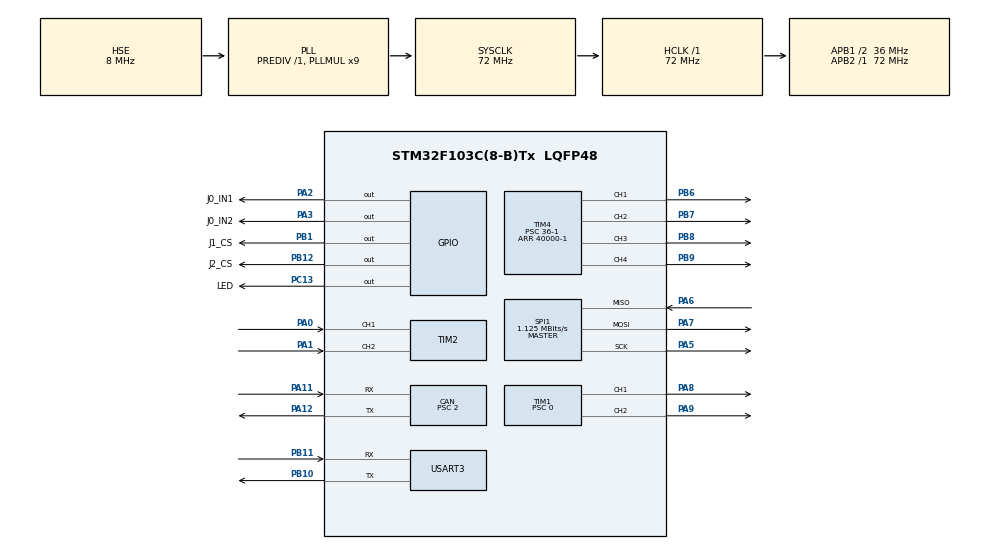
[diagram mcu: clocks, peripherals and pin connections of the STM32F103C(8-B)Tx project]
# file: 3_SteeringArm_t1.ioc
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CAN.ABOM=ENABLE
CAN.BS1=CAN_BS1_13TQ
CAN.BS2=CAN_BS2_4TQ
CAN.CalculateBaudRate=1000000
CAN.CalculateTimeBit=1000
CAN.CalculateTimeQuantum=55.55555555555556
CAN.NART=ENABLE
CAN.Prescaler=2
CAN.TXFP=ENABLE
FREERTOS.Queues01=canRxQueue,16,App_CAN_Message_t,0,Dynamic,NULL,NULL
FREERTOS.Tasks01=Heartbeat_Ta,8,64,Heartbeat_Task_Run,Default,NULL,Static,Heartbeat_TaBuffer,Heartbeat_TaControlBlock;CAN_Rx_Ta,24,256,CAN_Rx_Task_Run,Default,NULL,Static,CAN_Rx_TaBuffer,CAN_Rx_TaControlBlock;DC_Motor_Ta,25,256,DC_Motor_Task_Run,Default,NULL,Static,DC_Motor_TaBuffer,DC_Motor_TaControlBlock;Servo_Ta,24,256,Servo_Task_Run,Default,NULL,Static,Servo_TaBuffer,Servo_TaControlBlock;Arm_State_Ta,24,256,Arm_State_Task_Run,Default,NULL,Static,Arm_State_TaBuffer,Arm_State_TaControlBlock
FREERTOS.configCHECK_FOR_STACK_OVERFLOW=2
FREERTOS.configMAX_TASK_NAME_LEN=24
FREERTOS.configMINIMAL_STACK_SIZE=64
FREERTOS.configTIMER_TASK_STACK_DEPTH=128
FREERTOS.configUSE_MALLOC_FAILED_HOOK=1
Mcu.Family=STM32F1
Mcu.Name=STM32F103C(8-B)Tx
Mcu.Package=LQFP48
NVIC.CAN1_SCE_IRQn=true\:5\:0\:false\:false\:true\:true\:true\:true\:true
NVIC.PriorityGroup=NVIC_PRIORITYGROUP_4
NVIC.TIM3_IRQn=true\:15\:0\:false\:false\:true\:false\:false\:true\:true
NVIC.TimeBase=TIM3_IRQn
NVIC.TimeBaseIP=TIM3
NVIC.USB_LP_CAN1_RX0_IRQn=true\:5\:0\:false\:false\:true\:true\:true\:true\:true
PA0-WKUP.Signal=S_TIM2_CH1_ETR
PA1.Signal=S_TIM2_CH2
PA11.Mode=CAN_Activate
PA11.Signal=CAN_RX
PA12.Mode=CAN_Activate
PA12.Signal=CAN_TX
PA13.Mode=Serial_Wire
PA13.Signal=SYS_JTMS-SWDIO
PA14.Mode=Serial_Wire
PA14.Signal=SYS_JTCK-SWCLK
PA2.GPIO_Label=J0_IN1
PA2.PinState=GPIO_PIN_RESET
PA2.Signal=GPIO_Output
PA3.GPIO_Label=J0_IN2
PA3.PinState=GPIO_PIN_RESET
PA3.Signal=GPIO_Output
PA5.Mode=Full_Duplex_Master
PA5.Signal=SPI1_SCK
PA6.Mode=Full_Duplex_Master
PA6.Signal=SPI1_MISO
PA7.Mode=Full_Duplex_Master
PA7.Signal=SPI1_MOSI
PA8.Signal=S_TIM1_CH1
PA9.Signal=S_TIM1_CH2
PB1.GPIO_Label=J1_CS
PB1.PinState=GPIO_PIN_SET
PB1.Signal=GPIO_Output
PB10.Mode=Asynchronous
PB10.Signal=USART3_TX
PB11.Mode=Asynchronous
PB11.Signal=USART3_RX
PB12.GPIO_Label=J2_CS
PB12.PinState=GPIO_PIN_SET
PB12.Signal=GPIO_Output
PB6.Signal=S_TIM4_CH1
PB7.Signal=S_TIM4_CH2
PB8.Signal=S_TIM4_CH3
PB9.Signal=S_TIM4_CH4
PC13-TAMPER-RTC.GPIO_Label=LED
PC13-TAMPER-RTC.PinState=GPIO_PIN_SET
PC13-TAMPER-RTC.Signal=GPIO_Output
PD0-OSC_IN.Mode=HSE-External-Oscillator
PD0-OSC_IN.Signal=RCC_OSC_IN
PD1-OSC_OUT.Mode=HSE-External-Oscillator
PD1-OSC_OUT.Signal=RCC_OSC_OUT
ProjectManager.HeapSize=0x200
ProjectManager.StackSize=0x800
ProjectManager.TargetToolchain=CMake
RCC.AHBFreq_Value=72000000
RCC.APB1CLKDivider=RCC_HCLK_DIV2
RCC.APB1Freq_Value=36000000
RCC.APB1TimFreq_Value=72000000
RCC.APB2Freq_Value=72000000
RCC.APB2TimFreq_Value=72000000
RCC.EnbaleCSS=true
RCC.HCLKFreq_Value=72000000
RCC.PLLMUL=RCC_PLL_MUL9
RCC.PLLSourceVirtual=RCC_PLLSOURCE_HSE
RCC.SYSCLKFreq_VALUE=72000000
RCC.SYSCLKSource=RCC_SYSCLKSOURCE_PLLCLK
RCC.USBFreq_Value=72000000
SH.S_TIM1_CH1.0=TIM1_CH1,PWM Generation1 CH1
SH.S_TIM1_CH2.0=TIM1_CH2,PWM Generation2 CH2
SH.S_TIM2_CH1_ETR.0=TIM2_CH1,Encoder_Interface
SH.S_TIM2_CH2.0=TIM2_CH2,Encoder_Interface
SH.S_TIM4_CH1.0=TIM4_CH1,PWM Generation1 CH1
SH.S_TIM4_CH2.0=TIM4_CH2,PWM Generation2 CH2
SH.S_TIM4_CH3.0=TIM4_CH3,PWM Generation3 CH3
SH.S_TIM4_CH4.0=TIM4_CH4,PWM Generation4 CH4
SPI1.BaudRatePrescaler=SPI_BAUDRATEPRESCALER_64
SPI1.CLKPhase=SPI_PHASE_2EDGE
SPI1.CalculateBaudRate=1.125 MBits/s
SPI1.Direction=SPI_DIRECTION_2LINES
SPI1.Mode=SPI_MODE_MASTER
SPI1.VirtualType=VM_MASTER
TIM1.AutoReloadPreload=TIM_AUTORELOAD_PRELOAD_ENABLE
TIM1.Channel-PWM\ Generation1\ CH1=TIM_CHANNEL_1
TIM1.Channel-PWM\ Generation2\ CH2=TIM_CHANNEL_2
TIM1.Period=7200
TIM1.Prescaler=0
TIM2.AutoReloadPreload=TIM_AUTORELOAD_PRELOAD_ENABLE
TIM2.EncoderMode=TIM_ENCODERMODE_TI12
TIM2.IC1Filter=7
TIM2.IC2Filter=7
TIM4.AutoReloadPreload=TIM_AUTORELOAD_PRELOAD_ENABLE
TIM4.Channel-PWM\ Generation1\ CH1=TIM_CHANNEL_1
TIM4.Channel-PWM\ Generation2\ CH2=TIM_CHANNEL_2
TIM4.Channel-PWM\ Generation3\ CH3=TIM_CHANNEL_3
TIM4.Channel-PWM\ Generation4\ CH4=TIM_CHANNEL_4
TIM4.Period=40000-1
TIM4.Prescaler=36-1
USART3.VirtualMode=VM_ASYNC
VP_FREERTOS_VS_CMSIS_V2.Mode=CMSIS_V2
VP_SYS_VS_tim3.Mode=TIM3
board=custom

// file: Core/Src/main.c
/* USER CODE BEGIN Header */
/**
  ******************************************************************************
  * @file           : main.c
  * @brief          : Main program body
  ******************************************************************************
  * @attention
  *
  * Copyright (c) 2026 STMicroelectronics.
  * All rights reserved.
  *
  * This software is licensed under terms that can be found in the LICENSE file
  * in the root directory of this software component.
  * If no LICENSE file comes with this software, it is provided AS-IS.
  *
  ******************************************************************************
  */
/* USER CODE END Header */
#include "main.h"
#include "cmsis_os.h"
#include "can.h"
#include "spi.h"
#include "tim.h"
#include "usart.h"
#include "gpio.h"

/* USER CODE BEGIN Includes */

#include "stdio.h"

/* USER CODE END Includes */

void SystemClock_Config(void);
void MX_FREERTOS_Init(void);

int main(void)
{

  /* MCU Configuration--------------------------------------------------------*/

  /* Reset of all peripherals, Initializes the Flash interface and the Systick. */
  HAL_Init();

  /* Configure the system clock */
  SystemClock_Config();

  /* Initialize all configured peripherals */
  MX_GPIO_Init();
  MX_CAN_Init();
  MX_SPI1_Init();
  MX_TIM1_Init();
  MX_TIM2_Init();
  MX_TIM4_Init();
  MX_USART3_UART_Init();
  /* USER CODE BEGIN 2 */

  printf("3_SteeringArm starting...\r\n");

  /* USER CODE END 2 */

  /* Init scheduler */
  osKernelInitialize();  /* Call init function for freertos objects (in cmsis_os2.c) */
  MX_FREERTOS_Init();

  /* Start scheduler */
  osKernelStart();

  /* We should never get here as control is now taken by the scheduler */

  /* Infinite loop */
  while (1)
  {

  }
}

void SystemClock_Config(void)
{
  RCC_OscInitTypeDef RCC_OscInitStruct = {0};
  RCC_ClkInitTypeDef RCC_ClkInitStruct = {0};

  /** Initializes the RCC Oscillators according to the specified parameters
  * in the RCC_OscInitTypeDef structure.
  */
  RCC_OscInitStruct.OscillatorType = RCC_OSCILLATORTYPE_HSE;
  RCC_OscInitStruct.HSEState = RCC_HSE_ON;
  RCC_OscInitStruct.HSEPredivValue = RCC_HSE_PREDIV_DIV1;
  RCC_OscInitStruct.HSIState = RCC_HSI_ON;
  RCC_OscInitStruct.PLL.PLLState = RCC_PLL_ON;
  RCC_OscInitStruct.PLL.PLLSource = RCC_PLLSOURCE_HSE;
  RCC_OscInitStruct.PLL.PLLMUL = RCC_PLL_MUL9;
  if (HAL_RCC_OscConfig(&RCC_OscInitStruct) != HAL_OK)
  {
    Error_Handler();
  }

  /** Initializes the CPU, AHB and APB buses clocks
  */
  RCC_ClkInitStruct.ClockType = RCC_CLOCKTYPE_HCLK|RCC_CLOCKTYPE_SYSCLK
                              |RCC_CLOCKTYPE_PCLK1|RCC_CLOCKTYPE_PCLK2;
  RCC_ClkInitStruct.SYSCLKSource = RCC_SYSCLKSOURCE_PLLCLK;
  RCC_ClkInitStruct.AHBCLKDivider = RCC_SYSCLK_DIV1;
  RCC_ClkInitStruct.APB1CLKDivider = RCC_HCLK_DIV2;
  RCC_ClkInitStruct.APB2CLKDivider = RCC_HCLK_DIV1;

  if (HAL_RCC_ClockConfig(&RCC_ClkInitStruct, FLASH_LATENCY_2) != HAL_OK)
  {
    Error_Handler();
  }

  /** Enables the Clock Security System
  */
  HAL_RCC_EnableCSS();
}

/* USER CODE BEGIN 4 */

int __io_putchar(int ch)
{
    HAL_UART_Transmit(&huart3, (uint8_t *)&ch, 1, 100);
    return ch;
}

/* USER CODE END 4 */

void HAL_TIM_PeriodElapsedCallback(TIM_HandleTypeDef *htim)
{
  if (htim->Instance == TIM3)
  {
    HAL_IncTick();
  }
}

void Error_Handler(void)
{
  __disable_irq();
  while (1)
  {
  }
}

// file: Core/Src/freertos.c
/* USER CODE BEGIN Header */
/**
  ******************************************************************************
  * File Name          : freertos.c
  * Description        : Code for freertos applications
  ******************************************************************************
  * @attention
  *
  * Copyright (c) 2026 STMicroelectronics.
  * All rights reserved.
  *
  * This software is licensed under terms that can be found in the LICENSE file
  * in the root directory of this software component.
  * If no LICENSE file comes with this software, it is provided AS-IS.
  *
  ******************************************************************************
  */
/* USER CODE END Header */

#include "FreeRTOS.h"
#include "task.h"
#include "main.h"
#include "cmsis_os.h"

/* USER CODE BEGIN Includes */
#include <stdio.h>
#include "app_config.h"
#include "app_globals.h"
#include "mt6701.h"
#include "servo.h"
#include "tim.h"
#include "gpio.h"
#include "math.h"
/* USER CODE END Includes */

typedef StaticTask_t osStaticThreadDef_t;

/* USER CODE BEGIN Variables */
ArmState_t g_arm_state = {0};
volatile uint8_t g_servo_active = 0;   /* 收到 CAN 命令后设为 1 */
volatile uint8_t g_system_locked = 0;  /* 430#03 锁定, 430#04 解锁 */
/* USER CODE END Variables */
/* Definitions for Heartbeat_Ta */
osThreadId_t Heartbeat_TaHandle;
uint32_t Heartbeat_TaBuffer[ 64 ];
osStaticThreadDef_t Heartbeat_TaControlBlock;
const osThreadAttr_t Heartbeat_Ta_attributes = {
  .name = "Heartbeat_Ta",
  .cb_mem = &Heartbeat_TaControlBlock,
  .cb_size = sizeof(Heartbeat_TaControlBlock),
  .stack_mem = &Heartbeat_TaBuffer[0],
  .stack_size = sizeof(Heartbeat_TaBuffer),
  .priority = (osPriority_t) osPriorityLow,
};
/* Definitions for CAN_Rx_Ta */
osThreadId_t CAN_Rx_TaHandle;
uint32_t CAN_Rx_TaBuffer[ 256 ];
osStaticThreadDef_t CAN_Rx_TaControlBlock;
const osThreadAttr_t CAN_Rx_Ta_attributes = {
  .name = "CAN_Rx_Ta",
  .cb_mem = &CAN_Rx_TaControlBlock,
  .cb_size = sizeof(CAN_Rx_TaControlBlock),
  .stack_mem = &CAN_Rx_TaBuffer[0],
  .stack_size = sizeof(CAN_Rx_TaBuffer),
  .priority = (osPriority_t) osPriorityNormal,
};
/* Definitions for DC_Motor_Ta */
osThreadId_t DC_Motor_TaHandle;
uint32_t DC_Motor_TaBuffer[ 256 ];
osStaticThreadDef_t DC_Motor_TaControlBlock;
const osThreadAttr_t DC_Motor_Ta_attributes = {
  .name = "DC_Motor_Ta",
  .cb_mem = &DC_Motor_TaControlBlock,
  .cb_size = sizeof(DC_Motor_TaControlBlock),
  .stack_mem = &DC_Motor_TaBuffer[0],
  .stack_size = sizeof(DC_Motor_TaBuffer),
  .priority = (osPriority_t) osPriorityNormal1,
};
/* Definitions for Servo_Ta */
osThreadId_t Servo_TaHandle;
uint32_t Servo_TaBuffer[ 256 ];
osStaticThreadDef_t Servo_TaControlBlock;
const osThreadAttr_t Servo_Ta_attributes = {
  .name = "Servo_Ta",
  .cb_mem = &Servo_TaControlBlock,
  .cb_size = sizeof(Servo_TaControlBlock),
  .stack_mem = &Servo_TaBuffer[0],
  .stack_size = sizeof(Servo_TaBuffer),
  .priority = (osPriority_t) osPriorityNormal,
};
/* Definitions for Arm_State_Ta */
osThreadId_t Arm_State_TaHandle;
uint32_t Arm_State_TaBuffer[ 256 ];
osStaticThreadDef_t Arm_State_TaControlBlock;
const osThreadAttr_t Arm_State_Ta_attributes = {
  .name = "Arm_State_Ta",
  .cb_mem = &Arm_State_TaControlBlock,
  .cb_size = sizeof(Arm_State_TaControlBlock),
  .stack_mem = &Arm_State_TaBuffer[0],
  .stack_size = sizeof(Arm_State_TaBuffer),
  .priority = (osPriority_t) osPriorityNormal,
};
/* Definitions for canRxQueue */
osMessageQueueId_t canRxQueueHandle;
const osMessageQueueAttr_t canRxQueue_attributes = {
  .name = "canRxQueue"
};

/* USER CODE BEGIN FunctionPrototypes */
/* Impl 函数声明 (实现在 App/tasks/) */
void Heartbeat_Task_Impl(void *argument);
void CAN_Rx_Task_Impl(void *argument);
void DC_Motor_Task_Impl(void *argument);
void Servo_Task_Impl(void *argument);
void Arm_State_Task_Impl(void *argument);
/* USER CODE END FunctionPrototypes */

void Heartbeat_Task_Run(void *argument);
void CAN_Rx_Task_Run(void *argument);
void DC_Motor_Task_Run(void *argument);
void Servo_Task_Run(void *argument);
void Arm_State_Task_Run(void *argument);

void MX_FREERTOS_Init(void); /* (MISRA C 2004 rule 8.1) */

/* Hook prototypes */
void vApplicationStackOverflowHook(xTaskHandle xTask, signed char *pcTaskName);
void vApplicationMallocFailedHook(void);

/* USER CODE BEGIN 4 */
void vApplicationStackOverflowHook(xTaskHandle xTask, signed char *pcTaskName)
{
   /* Run time stack overflow checking is performed if
   configCHECK_FOR_STACK_OVERFLOW is defined to 1 or 2. This hook function is
   called if a stack overflow is detected. */
}
/* USER CODE END 4 */

/* USER CODE BEGIN 5 */
void vApplicationMallocFailedHook(void)
{
   /* vApplicationMallocFailedHook() will only be called if
   configUSE_MALLOC_FAILED_HOOK is set to 1 in FreeRTOSConfig.h. It is a hook
   function that will get called if a call to pvPortMalloc() fails.
   pvPortMalloc() is called internally by the kernel whenever a task, queue,
   timer or semaphore is created. It is also called by various parts of the
   demo application. If heap_1.c or heap_2.c are used, then the size of the
   heap available to pvPortMalloc() is defined by configTOTAL_HEAP_SIZE in
   FreeRTOSConfig.h, and the xPortGetFreeHeapSize() API function can be used
   to query the size of free heap space that remains (although it does not
   provide information on how the remaining heap might be fragmented). */
}
/* USER CODE END 5 */

void MX_FREERTOS_Init(void) {

  /* Create the queue(s) */
  /* creation of canRxQueue */
  canRxQueueHandle = osMessageQueueNew (16, sizeof(App_CAN_Message_t), &canRxQueue_attributes);

  /* Create the thread(s) */
  /* creation of Heartbeat_Ta */
  Heartbeat_TaHandle = osThreadNew(Heartbeat_Task_Run, NULL, &Heartbeat_Ta_attributes);

  /* creation of CAN_Rx_Ta */
  CAN_Rx_TaHandle = osThreadNew(CAN_Rx_Task_Run, NULL, &CAN_Rx_Ta_attributes);

  /* creation of DC_Motor_Ta */
  DC_Motor_TaHandle = osThreadNew(DC_Motor_Task_Run, NULL, &DC_Motor_Ta_attributes);

  /* creation of Servo_Ta */
  Servo_TaHandle = osThreadNew(Servo_Task_Run, NULL, &Servo_Ta_attributes);

  /* creation of Arm_State_Ta */
  Arm_State_TaHandle = osThreadNew(Arm_State_Task_Run, NULL, &Arm_State_Ta_attributes);

}

void Heartbeat_Task_Run(void *argument)
{
  /* USER CODE BEGIN Heartbeat_Task_Run */
  Heartbeat_Task_Impl(argument);
  /* USER CODE END Heartbeat_Task_Run */
}

void CAN_Rx_Task_Run(void *argument)
{
  /* USER CODE BEGIN CAN_Rx_Task_Run */
  CAN_Rx_Task_Impl(argument);
  /* USER CODE END CAN_Rx_Task_Run */
}

void DC_Motor_Task_Run(void *argument)
{
  /* USER CODE BEGIN DC_Motor_Task_Run */
  DC_Motor_Task_Impl(argument);
  /* USER CODE END DC_Motor_Task_Run */
}

void Servo_Task_Run(void *argument)
{
  /* USER CODE BEGIN Servo_Task_Run */
  Servo_Task_Impl(argument);
  /* USER CODE END Servo_Task_Run */
}

void Arm_State_Task_Run(void *argument)
{
  /* USER CODE BEGIN Arm_State_Task_Run */
  Arm_State_Task_Impl(argument);
  /* USER CODE END Arm_State_Task_Run */
}
